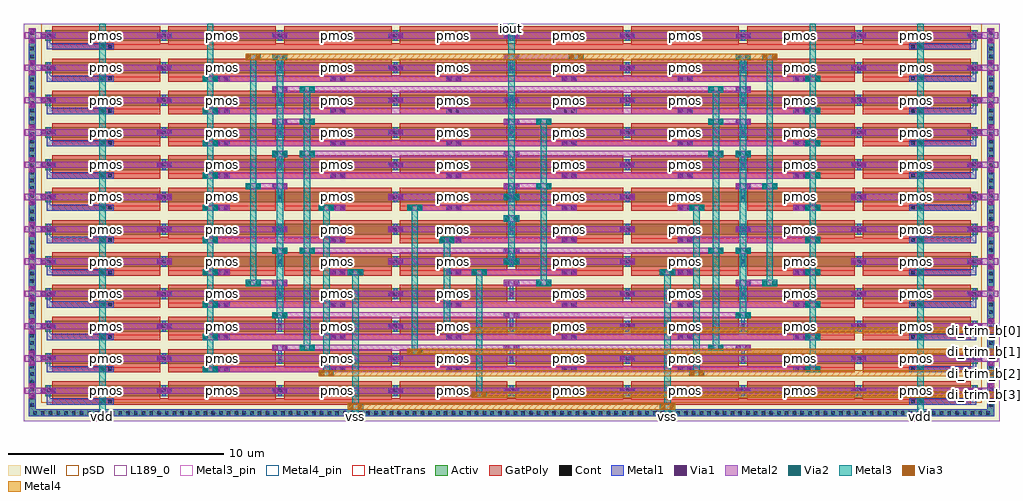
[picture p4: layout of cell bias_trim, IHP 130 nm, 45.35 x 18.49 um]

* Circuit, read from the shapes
.subckt bias_trim di_trim_b[0] di_trim_b[1] di_trim_b[2] di_trim_b[3] iout vdd vss vz
XM1 vdd vdd vdd vdd sg13_lv_pmos w=0.5u l=5u m=40
XM2 n1 vz vdd vdd sg13_lv_pmos w=0.5u l=5u m=16
XM3 n2 vz vdd vdd sg13_lv_pmos w=0.5u l=5u m=16
XM4 n3 vz vdd vdd sg13_lv_pmos w=0.5u l=5u m=8
XM5 iout vss n2 vdd sg13_lv_pmos w=0.5u l=5u m=2
XM6 n4 vz vdd vdd sg13_lv_pmos w=0.5u l=5u m=2
XM7 iout di_trim_b[2] n3 vdd sg13_lv_pmos w=0.5u l=5u m=2
XM8 n5 vz vdd vdd sg13_lv_pmos w=0.5u l=5u m=4
XM9 n1 di_trim_b[3] iout vdd sg13_lv_pmos w=0.5u l=5u m=2
XM10 iout di_trim_b[0] n4 vdd sg13_lv_pmos w=0.5u l=5u m=2
XM11 n5 di_trim_b[1] iout vdd sg13_lv_pmos w=0.5u l=5u m=2
.ends

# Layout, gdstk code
import gdstk
lib = gdstk.Library(unit=1e-6, precision=1e-09)
def R(c, l, rs):  # rectangles x0, y0, x1, y1
    for r in rs: c.add(gdstk.rectangle(r[:2], r[2:], *l))
def A(c, l, x, y, w, h, nx, ny, dx, dy):  # array of equal rectangles
    R(c, l, [(x+i*dx, y+j*dy, x+i*dx+w, y+j*dy+h) for i in range(nx) for j in range(ny)])
Activ = (1, 0)
GatPoly = (5, 0)
Cont = (6, 0)
Metal1 = (8, 0)
Metal2 = (10, 0)
pSD = (14, 0)
Via1 = (19, 0)
Via2 = (29, 0)
Metal3 = (30, 0)
Metal3_pin = (30, 2)
NWell = (31, 0)
Via3 = (49, 0)
Metal4 = (50, 0)
Metal4_pin = (50, 2)
HeatTrans = (51, 0)
L189_0 = (189, 0)

bias_trim = lib.new_cell('bias_trim')
A(bias_trim, Activ, 1.005, 1.18, 0.3, 0.3, 9, 12, 5.38, 1.5)
A(bias_trim, Activ, 1.005, 1.18, 43.34, 0.5, 1, 12, 0, 1.5)
R(bias_trim, Activ, [(0.24,0.24,45.11,0.56), (0.24,0.56,0.56,18.25), (44.79,0.56,45.11,18.25)])
A(bias_trim, GatPoly, 1.345, 1, 5, 0.86, 1, 12, 0, 1.5)
A(bias_trim, GatPoly, 1.345, 1, 5, 0.86, 8, 12, 5.38, 1.5)
A(bias_trim, GatPoly, 1.345, 2.28, 5, 0.3, 1, 3, 0, 1.5)
A(bias_trim, GatPoly, 6.725, 2.28, 31.9, 0.3, 1, 3, 0, 1.5)
A(bias_trim, GatPoly, 39.005, 2.28, 5, 0.3, 1, 3, 0, 1.5)
A(bias_trim, GatPoly, 1.345, 6.78, 5, 0.3, 3, 2, 5.38, 3)
A(bias_trim, GatPoly, 28.245, 6.78, 5, 0.3, 3, 2, 5.38, 3)
A(bias_trim, GatPoly, 1.345, 8.28, 10.38, 0.3, 3, 1, 16.14, 0)
A(bias_trim, GatPoly, 1.345, 11.28, 5, 0.3, 1, 4, 0, 1.5)
A(bias_trim, GatPoly, 39.005, 11.28, 5, 0.3, 1, 4, 0, 1.5)
A(bias_trim, GatPoly, 6.725, 14.28, 10.38, 0.3, 3, 1, 10.76, 0)
R(bias_trim, GatPoly, [(1.345,0.78,44.005,1.08), (17.485,6.78,27.865,7.08), (12.105,8.28,17.105,8.58), (28.245,8.28,33.245,8.58), (17.485,9.78,27.865,10.08), (6.725,11.28,38.625,11.58), (6.725,12.78,38.625,13.08), (6.725,15.78,38.625,16.08), (1.345,17.28,44.005,17.58)])
A(bias_trim, Cont, 0.455, 0.32, 0.16, 0.16, 124, 1, 0.36, 0)
A(bias_trim, Cont, 0.32, 0.68, 0.16, 0.16, 1, 49, 0, 0.36)
A(bias_trim, Cont, 44.87, 0.68, 0.16, 0.16, 1, 49, 0, 0.36)
A(bias_trim, Cont, 3.595, 0.85, 0.16, 0.16, 1, 12, 0, 1.5)
A(bias_trim, Cont, 3.935, 0.85, 0.16, 0.16, 1, 12, 0, 1.5)
A(bias_trim, Cont, 41.255, 0.85, 0.16, 0.16, 1, 12, 0, 1.5)
A(bias_trim, Cont, 41.595, 0.85, 0.16, 0.16, 1, 12, 0, 1.5)
A(bias_trim, Cont, 1.075, 1.35, 0.16, 0.16, 9, 12, 5.38, 1.5)
A(bias_trim, Cont, 8.975, 2.35, 0.16, 0.16, 1, 4, 0, 1.5)
A(bias_trim, Cont, 9.315, 2.35, 0.16, 0.16, 1, 4, 0, 1.5)
A(bias_trim, Cont, 14.355, 2.35, 0.16, 0.16, 1, 10, 0, 1.5)
A(bias_trim, Cont, 14.695, 2.35, 0.16, 0.16, 1, 10, 0, 1.5)
A(bias_trim, Cont, 19.735, 2.35, 0.16, 0.16, 1, 10, 0, 1.5)
A(bias_trim, Cont, 20.075, 2.35, 0.16, 0.16, 1, 10, 0, 1.5)
A(bias_trim, Cont, 25.115, 2.35, 0.16, 0.16, 1, 10, 0, 1.5)
A(bias_trim, Cont, 25.455, 2.35, 0.16, 0.16, 1, 10, 0, 1.5)
A(bias_trim, Cont, 30.495, 2.35, 0.16, 0.16, 1, 10, 0, 1.5)
A(bias_trim, Cont, 30.835, 2.35, 0.16, 0.16, 1, 10, 0, 1.5)
A(bias_trim, Cont, 35.875, 2.35, 0.16, 0.16, 1, 4, 0, 1.5)
A(bias_trim, Cont, 36.215, 2.35, 0.16, 0.16, 1, 4, 0, 1.5)
A(bias_trim, Cont, 8.975, 9.85, 0.16, 0.16, 1, 5, 0, 1.5)
A(bias_trim, Cont, 9.315, 9.85, 0.16, 0.16, 1, 5, 0, 1.5)
A(bias_trim, Cont, 35.875, 9.85, 0.16, 0.16, 1, 5, 0, 1.5)
A(bias_trim, Cont, 36.215, 9.85, 0.16, 0.16, 1, 5, 0, 1.5)
A(bias_trim, Metal1, 1.075, 0.785, 2.85, 0.29, 1, 12, 0, 1.5)
A(bias_trim, Metal1, 3.495, 0.785, 0.7, 0.29, 1, 12, 0, 1.5)
A(bias_trim, Metal1, 41.155, 0.785, 0.7, 0.29, 1, 12, 0, 1.5)
A(bias_trim, Metal1, 41.425, 0.785, 2.85, 0.29, 1, 12, 0, 1.5)
A(bias_trim, Metal1, 1.075, 0.93, 0.16, 0.25, 1, 9, 0, 1.5)
A(bias_trim, Metal1, 44.115, 0.93, 0.16, 0.25, 1, 9, 0, 1.5)
A(bias_trim, Metal1, 0.255, 1.08, 0.29, 0.7, 1, 12, 0, 1.5)
A(bias_trim, Metal1, 44.805, 1.08, 0.29, 0.7, 1, 12, 0, 1.5)
A(bias_trim, Metal1, 6.455, 1.18, 0.16, 0.5, 1, 12, 0, 1.5)
A(bias_trim, Metal1, 6.455, 1.18, 0.16, 0.5, 8, 12, 5.38, 1.5)
A(bias_trim, Metal1, 0.805, 1.285, 0.7, 0.29, 9, 2, 5.38, 16.5)
A(bias_trim, Metal1, 0.805, 2.785, 0.7, 0.29, 1, 4, 0, 1.5)
A(bias_trim, Metal1, 6.185, 2.785, 0.7, 0.29, 4, 4, 10.76, 1.5)
A(bias_trim, Metal1, 43.845, 2.785, 0.7, 0.29, 1, 4, 0, 1.5)
A(bias_trim, Metal1, 11.835, 3.18, 0.16, 0.395, 3, 4, 10.76, 1.5)
A(bias_trim, Metal1, 11.565, 3.285, 0.7, 0.29, 3, 4, 10.76, 1.5)
A(bias_trim, Metal1, 0.805, 8.785, 0.7, 0.29, 4, 1, 5.38, 0)
A(bias_trim, Metal1, 27.705, 8.785, 0.7, 0.29, 4, 1, 5.38, 0)
A(bias_trim, Metal1, 0.805, 10.285, 0.7, 0.29, 1, 5, 0, 1.5)
A(bias_trim, Metal1, 6.185, 10.285, 0.7, 0.29, 4, 3, 10.76, 1.5)
A(bias_trim, Metal1, 43.845, 10.285, 0.7, 0.29, 1, 5, 0, 1.5)
A(bias_trim, Metal1, 11.835, 10.68, 0.16, 0.395, 3, 3, 10.76, 1.5)
A(bias_trim, Metal1, 11.565, 10.785, 0.7, 0.29, 3, 3, 10.76, 1.5)
A(bias_trim, Metal1, 14.255, 12.785, 0.7, 0.29, 1, 3, 0, 1.5)
A(bias_trim, Metal1, 30.395, 12.785, 0.7, 0.29, 1, 3, 0, 1.5)
A(bias_trim, Metal1, 14.255, 14.285, 0.7, 0.29, 4, 1, 5.38, 0)
A(bias_trim, Metal1, 1.075, 14.43, 0.16, 0.25, 3, 1, 21.52, 0)
A(bias_trim, Metal1, 16.945, 14.785, 0.7, 0.29, 3, 1, 5.38, 0)
A(bias_trim, Metal1, 6.185, 16.285, 0.7, 0.29, 4, 1, 10.76, 0)
A(bias_trim, Metal1, 11.835, 16.68, 0.16, 0.395, 3, 1, 10.76, 0)
A(bias_trim, Metal1, 11.565, 16.785, 0.7, 0.29, 3, 1, 10.76, 0)
R(bias_trim, Metal1, [(0.24,0.24,45.11,0.56), (0.24,0.56,0.56,18.25), (44.79,0.56,45.11,18.25), (1.075,1.18,1.235,1.68), (1.075,1.18,1.235,1.68), (8.875,2.285,9.575,2.575), (8.875,2.285,9.575,2.575), (14.255,2.285,14.955,2.575), (14.255,2.285,14.955,2.575), (19.635,2.285,20.335,2.575), (19.635,2.285,20.335,2.575), (25.015,2.285,25.715,2.575), (25.015,2.285,25.715,2.575), (30.395,2.285,31.095,2.575), (30.395,2.285,31.095,2.575), (35.775,2.285,36.475,2.575), (35.775,2.285,36.475,2.575), (1.075,2.68,1.235,3.18), (1.075,2.68,1.235,3.18), (8.875,3.785,9.575,4.075), (8.875,3.785,9.575,4.075), (14.255,3.785,14.955,4.075), (14.255,3.785,14.955,4.075), (19.635,3.785,20.335,4.075), (19.635,3.785,20.335,4.075), (25.015,3.785,25.715,4.075), (25.015,3.785,25.715,4.075), (30.395,3.785,31.095,4.075), (30.395,3.785,31.095,4.075), (35.775,3.785,36.475,4.075), (35.775,3.785,36.475,4.075), (1.075,4.18,1.235,4.68), (1.075,4.18,1.235,4.68), (8.875,5.285,9.575,5.575), (8.875,5.285,9.575,5.575), (14.255,5.285,14.955,5.575), (14.255,5.285,14.955,5.575), (19.635,5.285,20.335,5.575), (19.635,5.285,20.335,5.575), (25.015,5.285,25.715,5.575), (25.015,5.285,25.715,5.575), (30.395,5.285,31.095,5.575), (30.395,5.285,31.095,5.575), (35.775,5.285,36.475,5.575), (35.775,5.285,36.475,5.575), (1.075,5.68,1.235,6.18), (1.075,5.68,1.235,6.18), (8.875,6.785,9.575,7.075), (8.875,6.785,9.575,7.075), (14.255,6.785,14.955,7.075), (14.255,6.785,14.955,7.075), (19.635,6.785,20.335,7.075), (19.635,6.785,20.335,7.075), (25.015,6.785,25.715,7.075), (25.015,6.785,25.715,7.075), (30.395,6.785,31.095,7.075), (30.395,6.785,31.095,7.075), (35.775,6.785,36.475,7.075), (35.775,6.785,36.475,7.075), (1.075,7.18,1.235,7.68), (1.075,7.18,1.235,7.68), (14.255,8.285,14.955,8.575), (14.255,8.285,14.955,8.575), (19.635,8.285,20.335,8.575), (19.635,8.285,20.335,8.575), (25.015,8.285,25.715,8.575), (25.015,8.285,25.715,8.575), (30.395,8.285,31.095,8.575), (30.395,8.285,31.095,8.575), (1.075,8.68,1.235,9.18), (1.075,8.68,1.235,9.18), (22.595,9.18,22.755,9.575), (22.325,9.285,23.025,9.575), (8.875,9.785,9.575,10.075), (8.875,9.785,9.575,10.075), (14.255,9.785,14.955,10.075), (14.255,9.785,14.955,10.075), (19.635,9.785,20.335,10.075), (19.635,9.785,20.335,10.075), (25.015,9.785,25.715,10.075), (25.015,9.785,25.715,10.075), (30.395,9.785,31.095,10.075), (30.395,9.785,31.095,10.075), (35.775,9.785,36.475,10.075), (35.775,9.785,36.475,10.075), (1.075,10.18,1.235,10.68), (1.075,10.18,1.235,10.68), (8.875,11.285,9.575,11.575), (8.875,11.285,9.575,11.575), (14.255,11.285,14.955,11.575), (14.255,11.285,14.955,11.575), (19.635,11.285,20.335,11.575), (19.635,11.285,20.335,11.575), (25.015,11.285,25.715,11.575), (25.015,11.285,25.715,11.575), (30.395,11.285,31.095,11.575), (30.395,11.285,31.095,11.575), (35.775,11.285,36.475,11.575), (35.775,11.285,36.475,11.575), (1.075,11.68,1.235,12.18), (1.075,11.68,1.235,12.18), (8.875,12.785,9.575,13.075), (8.875,12.785,9.575,13.075), (14.255,12.785,14.955,13.075), (19.635,12.785,20.335,13.075), (19.635,12.785,20.335,13.075), (25.015,12.785,25.715,13.075), (25.015,12.785,25.715,13.075), (30.395,12.785,31.095,13.075), (35.775,12.785,36.475,13.075), (35.775,12.785,36.475,13.075), (1.075,13.18,1.235,13.68), (1.075,13.18,1.235,13.68), (8.875,14.285,9.575,14.575), (8.875,14.285,9.575,14.575), (19.905,14.285,22.755,14.575), (22.595,14.285,25.445,14.575), (35.775,14.285,36.475,14.575), (35.775,14.285,36.475,14.575), (1.075,14.68,1.235,15.18), (1.075,14.68,1.235,15.18), (6.185,14.785,6.885,15.075), (38.465,14.785,39.165,15.075), (11.835,15.18,11.995,15.575), (33.355,15.18,33.515,15.575), (11.565,15.285,12.265,15.575), (33.085,15.285,33.785,15.575), (8.875,15.785,9.575,16.075), (8.875,15.785,9.575,16.075), (14.255,15.785,14.955,16.075), (19.635,15.785,20.335,16.075), (19.635,15.785,20.335,16.075), (25.015,15.785,25.715,16.075), (25.015,15.785,25.715,16.075), (30.395,15.785,31.095,16.075), (35.775,15.785,36.475,16.075), (35.775,15.785,36.475,16.075), (1.075,15.93,1.235,16.18), (44.115,15.93,44.275,16.18), (1.075,16.18,1.235,16.68), (1.075,16.18,1.235,16.68), (1.075,17.43,1.235,17.68), (44.115,17.43,44.275,17.68), (1.075,17.68,1.235,18.18), (1.075,17.68,1.235,18.18)])
A(bias_trim, Metal2, 0.255, 1.08, 0.29, 0.7, 1, 12, 0, 1.5)
A(bias_trim, Metal2, 44.805, 1.08, 0.29, 0.7, 1, 12, 0, 1.5)
A(bias_trim, Metal2, 0.05, 1.285, 45.25, 0.29, 1, 4, 0, 1.5)
A(bias_trim, Metal2, 0.805, 1.285, 0.7, 0.29, 1, 12, 0, 1.5)
A(bias_trim, Metal2, 3.325, 1.285, 0.7, 0.29, 1, 12, 0, 1.5)
A(bias_trim, Metal2, 6.185, 1.285, 0.7, 0.29, 7, 2, 5.38, 16.5)
A(bias_trim, Metal2, 41.325, 1.285, 0.7, 0.29, 1, 12, 0, 1.5)
A(bias_trim, Metal2, 43.845, 1.285, 0.7, 0.29, 1, 12, 0, 1.5)
A(bias_trim, Metal2, 8.325, 2.285, 0.7, 0.29, 1, 10, 0, 1.5)
A(bias_trim, Metal2, 8.325, 2.285, 28.7, 0.29, 1, 3, 0, 1.5)
A(bias_trim, Metal2, 8.875, 2.285, 0.7, 0.29, 6, 3, 5.38, 1.5)
A(bias_trim, Metal2, 36.325, 2.285, 0.7, 0.29, 1, 10, 0, 1.5)
A(bias_trim, Metal2, 6.185, 2.785, 0.7, 0.29, 4, 3, 10.76, 1.5)
A(bias_trim, Metal2, 11.565, 3.285, 0.7, 0.29, 1, 4, 0, 1.5)
A(bias_trim, Metal2, 12.825, 3.285, 0.7, 0.29, 3, 3, 9.5, 4.5)
A(bias_trim, Metal2, 33.085, 3.285, 0.7, 0.29, 1, 4, 0, 1.5)
A(bias_trim, Metal2, 11.565, 4.785, 0.7, 0.29, 3, 1, 10.76, 0)
A(bias_trim, Metal2, 14.255, 6.785, 0.7, 0.29, 1, 3, 0, 1.5)
A(bias_trim, Metal2, 16.945, 7.285, 0.7, 0.29, 3, 2, 5.38, 3)
A(bias_trim, Metal2, 16.945, 7.285, 11.46, 0.29, 1, 3, 0, 1.5)
A(bias_trim, Metal2, 19.635, 8.285, 0.7, 0.29, 3, 2, 5.38, 1.5)
A(bias_trim, Metal2, 6.185, 8.785, 0.7, 0.29, 3, 1, 5.38, 0)
A(bias_trim, Metal2, 27.705, 8.785, 0.7, 0.29, 3, 1, 5.38, 0)
A(bias_trim, Metal2, 22.325, 10.785, 0.7, 0.29, 1, 3, 0, 3)
A(bias_trim, Metal2, 8.325, 11.285, 28.7, 0.29, 1, 4, 0, 1.5)
A(bias_trim, Metal2, 8.875, 11.285, 0.7, 0.29, 6, 2, 5.38, 1.5)
A(bias_trim, Metal2, 0.05, 11.785, 45.25, 0.29, 1, 5, 0, 1.5)
A(bias_trim, Metal2, 6.185, 11.785, 0.7, 0.29, 4, 2, 10.76, 1.5)
A(bias_trim, Metal2, 11.565, 12.285, 0.7, 0.29, 1, 4, 0, 1.5)
A(bias_trim, Metal2, 33.085, 12.285, 0.7, 0.29, 1, 4, 0, 1.5)
A(bias_trim, Metal2, 16.945, 14.785, 0.7, 0.29, 3, 1, 5.38, 0)
A(bias_trim, Metal2, 8.875, 15.785, 0.7, 0.29, 6, 1, 5.38, 0)
A(bias_trim, Metal2, 6.185, 16.285, 0.7, 0.29, 4, 1, 10.76, 0)
R(bias_trim, Metal2, [(11.565,3.285,33.785,3.575), (11.565,4.785,33.785,5.075), (10.325,6.285,11.025,6.575), (10.325,6.285,12.265,6.575), (22.325,6.285,23.025,6.575), (22.325,6.285,24.525,6.575), (23.825,6.285,24.525,6.575), (33.085,6.285,35.025,6.575), (34.325,6.285,35.025,6.575), (8.325,6.785,9.575,7.075), (8.875,6.785,9.575,7.075), (14.255,6.785,15.775,7.075), (15.075,6.785,15.775,7.075), (19.635,6.785,20.335,7.075), (19.635,6.785,25.715,7.075), (20.825,6.785,21.525,7.075), (25.015,6.785,25.715,7.075), (29.575,6.785,30.275,7.075), (29.575,6.785,31.095,7.075), (30.395,6.785,31.095,7.075), (35.775,6.785,36.475,7.075), (35.775,6.785,37.025,7.075), (0.05,7.285,6.885,7.575), (6.185,7.285,6.885,7.575), (38.465,7.285,39.165,7.575), (38.465,7.285,45.3,7.575), (11.565,7.785,12.265,8.075), (12.825,7.785,32.525,8.075), (33.085,7.785,33.785,8.075), (8.325,8.285,14.955,8.575), (19.325,8.285,20.025,8.575), (19.325,8.285,25.715,8.575), (30.395,8.285,37.025,8.575), (0.05,8.785,12.265,9.075), (33.085,8.785,45.3,9.075), (22.325,9.285,23.025,9.575), (22.325,9.285,23.025,9.575), (8.325,9.785,9.575,10.075), (8.875,9.785,9.575,10.075), (13.725,9.785,14.425,10.075), (13.725,9.785,14.955,10.075), (17.825,9.785,18.525,10.075), (17.825,9.785,25.715,10.075), (30.395,9.785,31.625,10.075), (30.925,9.785,31.625,10.075), (35.775,9.785,36.475,10.075), (35.775,9.785,37.025,10.075), (0.05,10.285,6.885,10.575), (6.185,10.285,6.885,10.575), (38.465,10.285,39.165,10.575), (38.465,10.285,45.3,10.575), (10.325,10.785,11.025,11.075), (10.325,10.785,12.265,11.075), (11.565,10.785,12.265,11.075), (22.325,10.785,24.525,11.075), (23.825,10.785,24.525,11.075), (33.085,10.785,33.785,11.075), (33.085,10.785,35.025,11.075), (34.325,10.785,35.025,11.075), (11.565,12.285,12.265,12.575), (12.825,12.285,32.525,12.575), (33.085,12.285,33.785,12.575), (11.565,13.785,13.525,14.075), (12.825,13.785,13.525,14.075), (22.325,13.785,24.525,14.075), (23.825,13.785,24.525,14.075), (31.825,13.785,32.525,14.075), (31.825,13.785,33.785,14.075), (8.875,14.285,9.575,14.575), (14.255,14.285,14.955,14.575), (30.395,14.285,31.095,14.575), (35.775,14.285,36.475,14.575), (6.185,14.785,6.885,15.075), (38.465,14.785,39.165,15.075), (11.565,15.285,33.785,15.575), (12.825,15.285,13.525,15.575), (31.825,15.285,32.525,15.575), (10.325,16.785,11.025,17.075), (11.565,16.785,12.265,17.075), (22.325,16.785,26.025,17.075), (25.325,16.785,26.025,17.075), (33.085,16.785,33.785,17.075), (34.325,16.785,35.025,17.075)])
A(bias_trim, pSD, 0.825, 0.88, 43.7, 1.1, 1, 12, 0, 1.5)
R(bias_trim, pSD, [(0.825,0.88,44.525,18.48)])
A(bias_trim, Via1, 0.855, 1.335, 0.19, 0.19, 1, 12, 0, 1.5)
A(bias_trim, Via1, 1.265, 1.335, 0.19, 0.19, 1, 12, 0, 1.5)
A(bias_trim, Via1, 6.235, 1.335, 0.19, 0.19, 1, 12, 0, 1.5)
A(bias_trim, Via1, 6.645, 1.335, 0.19, 0.19, 1, 12, 0, 1.5)
A(bias_trim, Via1, 16.995, 1.335, 0.19, 0.19, 1, 12, 0, 1.5)
A(bias_trim, Via1, 17.405, 1.335, 0.19, 0.19, 1, 12, 0, 1.5)
A(bias_trim, Via1, 27.755, 1.335, 0.19, 0.19, 1, 12, 0, 1.5)
A(bias_trim, Via1, 28.165, 1.335, 0.19, 0.19, 1, 12, 0, 1.5)
A(bias_trim, Via1, 38.515, 1.335, 0.19, 0.19, 1, 12, 0, 1.5)
A(bias_trim, Via1, 38.925, 1.335, 0.19, 0.19, 1, 12, 0, 1.5)
A(bias_trim, Via1, 43.895, 1.335, 0.19, 0.19, 1, 12, 0, 1.5)
A(bias_trim, Via1, 44.305, 1.335, 0.19, 0.19, 1, 12, 0, 1.5)
A(bias_trim, Via1, 8.925, 2.335, 0.19, 0.19, 1, 4, 0, 1.5)
A(bias_trim, Via1, 9.335, 2.335, 0.19, 0.19, 1, 4, 0, 1.5)
A(bias_trim, Via1, 14.305, 2.335, 0.19, 0.19, 1, 10, 0, 1.5)
A(bias_trim, Via1, 14.715, 2.335, 0.19, 0.19, 1, 10, 0, 1.5)
A(bias_trim, Via1, 19.685, 2.335, 0.19, 0.19, 1, 8, 0, 1.5)
A(bias_trim, Via1, 20.095, 2.335, 0.19, 0.19, 1, 8, 0, 1.5)
A(bias_trim, Via1, 25.065, 2.335, 0.19, 0.19, 1, 8, 0, 1.5)
A(bias_trim, Via1, 25.475, 2.335, 0.19, 0.19, 1, 8, 0, 1.5)
A(bias_trim, Via1, 30.445, 2.335, 0.19, 0.19, 1, 10, 0, 1.5)
A(bias_trim, Via1, 30.855, 2.335, 0.19, 0.19, 1, 10, 0, 1.5)
A(bias_trim, Via1, 35.825, 2.335, 0.19, 0.19, 1, 4, 0, 1.5)
A(bias_trim, Via1, 36.235, 2.335, 0.19, 0.19, 1, 4, 0, 1.5)
A(bias_trim, Via1, 11.615, 3.335, 0.19, 0.19, 1, 4, 0, 1.5)
A(bias_trim, Via1, 12.025, 3.335, 0.19, 0.19, 1, 4, 0, 1.5)
A(bias_trim, Via1, 22.375, 3.335, 0.19, 0.19, 1, 8, 0, 1.5)
A(bias_trim, Via1, 22.785, 3.335, 0.19, 0.19, 1, 8, 0, 1.5)
A(bias_trim, Via1, 33.135, 3.335, 0.19, 0.19, 1, 4, 0, 1.5)
A(bias_trim, Via1, 33.545, 3.335, 0.19, 0.19, 1, 4, 0, 1.5)
A(bias_trim, Via1, 8.925, 9.835, 0.19, 0.19, 1, 5, 0, 1.5)
A(bias_trim, Via1, 9.335, 9.835, 0.19, 0.19, 1, 5, 0, 1.5)
A(bias_trim, Via1, 35.825, 9.835, 0.19, 0.19, 1, 5, 0, 1.5)
A(bias_trim, Via1, 36.235, 9.835, 0.19, 0.19, 1, 5, 0, 1.5)
A(bias_trim, Via1, 11.615, 10.835, 0.19, 0.19, 1, 5, 0, 1.5)
A(bias_trim, Via1, 12.025, 10.835, 0.19, 0.19, 1, 5, 0, 1.5)
A(bias_trim, Via1, 33.135, 10.835, 0.19, 0.19, 1, 5, 0, 1.5)
A(bias_trim, Via1, 33.545, 10.835, 0.19, 0.19, 1, 5, 0, 1.5)
R(bias_trim, Via1, [(0.305,1.13,0.495,1.32), (44.855,1.13,45.045,1.32), (11.615,1.335,11.805,1.525), (12.025,1.335,12.215,1.525), (22.375,1.335,22.565,1.525), (22.785,1.335,22.975,1.525), (33.135,1.335,33.325,1.525), (33.545,1.335,33.735,1.525), (0.305,1.54,0.495,1.73), (44.855,1.54,45.045,1.73), (0.305,2.63,0.495,2.82), (44.855,2.63,45.045,2.82), (0.305,3.04,0.495,3.23), (44.855,3.04,45.045,3.23), (0.305,4.13,0.495,4.32), (44.855,4.13,45.045,4.32), (0.305,4.54,0.495,4.73), (44.855,4.54,45.045,4.73), (0.305,5.63,0.495,5.82), (44.855,5.63,45.045,5.82), (0.305,6.04,0.495,6.23), (44.855,6.04,45.045,6.23), (0.305,7.13,0.495,7.32), (44.855,7.13,45.045,7.32), (0.305,7.54,0.495,7.73), (44.855,7.54,45.045,7.73), (0.305,8.63,0.495,8.82), (44.855,8.63,45.045,8.82), (11.615,8.835,11.805,9.025), (12.025,8.835,12.215,9.025), (33.135,8.835,33.325,9.025), (33.545,8.835,33.735,9.025), (0.305,9.04,0.495,9.23), (44.855,9.04,45.045,9.23), (0.305,10.13,0.495,10.32), (44.855,10.13,45.045,10.32), (0.305,10.54,0.495,10.73), (44.855,10.54,45.045,10.73), (0.305,11.63,0.495,11.82), (44.855,11.63,45.045,11.82), (0.305,12.04,0.495,12.23), (44.855,12.04,45.045,12.23), (0.305,13.13,0.495,13.32), (44.855,13.13,45.045,13.32), (0.305,13.54,0.495,13.73), (44.855,13.54,45.045,13.73), (0.305,14.63,0.495,14.82), (44.855,14.63,45.045,14.82), (22.375,14.835,22.565,15.025), (22.785,14.835,22.975,15.025), (0.305,15.04,0.495,15.23), (44.855,15.04,45.045,15.23), (19.685,15.835,19.875,16.025), (20.095,15.835,20.285,16.025), (25.065,15.835,25.255,16.025), (25.475,15.835,25.665,16.025), (0.305,16.13,0.495,16.32), (44.855,16.13,45.045,16.32), (0.305,16.54,0.495,16.73), (44.855,16.54,45.045,16.73), (22.375,16.835,22.565,17.025), (22.785,16.835,22.975,17.025), (0.305,17.63,0.495,17.82), (44.855,17.63,45.045,17.82), (11.615,17.835,11.805,18.025), (12.025,17.835,12.215,18.025), (22.375,17.835,22.565,18.025), (22.785,17.835,22.975,18.025), (33.135,17.835,33.325,18.025), (33.545,17.835,33.735,18.025), (0.305,18.04,0.495,18.23), (44.855,18.04,45.045,18.23)])
A(bias_trim, Via2, 3.375, 1.335, 0.19, 0.19, 1, 12, 0, 1.5)
A(bias_trim, Via2, 3.785, 1.335, 0.19, 0.19, 1, 12, 0, 1.5)
A(bias_trim, Via2, 41.375, 1.335, 0.19, 0.19, 1, 12, 0, 1.5)
A(bias_trim, Via2, 41.785, 1.335, 0.19, 0.19, 1, 12, 0, 1.5)
A(bias_trim, Via2, 8.375, 2.335, 0.19, 0.19, 1, 10, 0, 1.5)
A(bias_trim, Via2, 8.785, 2.335, 0.19, 0.19, 1, 10, 0, 1.5)
A(bias_trim, Via2, 36.375, 2.335, 0.19, 0.19, 1, 10, 0, 1.5)
A(bias_trim, Via2, 36.785, 2.335, 0.19, 0.19, 1, 10, 0, 1.5)
A(bias_trim, Via2, 12.875, 3.335, 0.19, 0.19, 1, 3, 0, 4.5)
A(bias_trim, Via2, 13.285, 3.335, 0.19, 0.19, 1, 3, 0, 4.5)
A(bias_trim, Via2, 31.875, 3.335, 0.19, 0.19, 1, 3, 0, 4.5)
A(bias_trim, Via2, 32.285, 3.335, 0.19, 0.19, 1, 3, 0, 4.5)
A(bias_trim, Via2, 11.615, 7.835, 0.19, 0.19, 1, 3, 0, 4.5)
A(bias_trim, Via2, 12.025, 7.835, 0.19, 0.19, 1, 3, 0, 4.5)
A(bias_trim, Via2, 33.135, 7.835, 0.19, 0.19, 1, 3, 0, 4.5)
A(bias_trim, Via2, 33.545, 7.835, 0.19, 0.19, 1, 3, 0, 4.5)
R(bias_trim, Via2, [(11.615,4.835,11.805,5.025), (12.025,4.835,12.215,5.025), (33.135,4.835,33.325,5.025), (33.545,4.835,33.735,5.025), (10.375,6.335,10.565,6.525), (10.785,6.335,10.975,6.525), (23.875,6.335,24.065,6.525), (24.285,6.335,24.475,6.525), (34.375,6.335,34.565,6.525), (34.785,6.335,34.975,6.525), (15.125,6.835,15.315,7.025), (15.535,6.835,15.725,7.025), (20.875,6.835,21.065,7.025), (21.285,6.835,21.475,7.025), (29.625,6.835,29.815,7.025), (30.035,6.835,30.225,7.025), (22.375,7.335,22.565,7.525), (22.785,7.335,22.975,7.525), (19.375,8.335,19.565,8.525), (19.785,8.335,19.975,8.525), (22.375,9.335,22.565,9.525), (22.785,9.335,22.975,9.525), (13.775,9.835,13.965,10.025), (14.185,9.835,14.375,10.025), (17.875,9.835,18.065,10.025), (18.285,9.835,18.475,10.025), (30.975,9.835,31.165,10.025), (31.385,9.835,31.575,10.025), (22.375,10.335,22.565,10.525), (22.785,10.335,22.975,10.525), (10.375,10.835,10.565,11.025), (10.785,10.835,10.975,11.025), (23.875,10.835,24.065,11.025), (24.285,10.835,24.475,11.025), (34.375,10.835,34.565,11.025), (34.785,10.835,34.975,11.025), (12.875,13.835,13.065,14.025), (13.285,13.835,13.475,14.025), (23.875,13.835,24.065,14.025), (24.285,13.835,24.475,14.025), (31.875,13.835,32.065,14.025), (32.285,13.835,32.475,14.025), (12.875,15.335,13.065,15.525), (13.285,15.335,13.475,15.525), (31.875,15.335,32.065,15.525), (32.285,15.335,32.475,15.525), (10.375,16.835,10.565,17.025), (10.785,16.835,10.975,17.025), (25.375,16.835,25.565,17.025), (25.785,16.835,25.975,17.025), (34.375,16.835,34.565,17.025), (34.785,16.835,34.975,17.025)])
A(bias_trim, Metal3, 3.325, 1.285, 0.7, 0.29, 1, 4, 0, 1.5)
A(bias_trim, Metal3, 41.325, 1.285, 0.7, 0.29, 1, 4, 0, 1.5)
A(bias_trim, Metal3, 8.325, 2.285, 0.7, 0.29, 1, 10, 0, 1.5)
A(bias_trim, Metal3, 36.325, 2.285, 0.7, 0.29, 1, 10, 0, 1.5)
A(bias_trim, Metal3, 12.825, 3.285, 0.7, 0.29, 1, 3, 0, 4.5)
A(bias_trim, Metal3, 31.825, 3.285, 0.7, 0.29, 1, 3, 0, 4.5)
A(bias_trim, Metal3, 3.325, 7.285, 0.7, 0.29, 3, 2, 19, 3)
A(bias_trim, Metal3, 11.565, 7.785, 0.7, 0.29, 1, 3, 0, 4.5)
A(bias_trim, Metal3, 33.085, 7.785, 0.7, 0.29, 1, 3, 0, 4.5)
A(bias_trim, Metal3, 3.325, 11.785, 0.7, 0.29, 1, 5, 0, 1.5)
A(bias_trim, Metal3, 41.325, 11.785, 0.7, 0.29, 1, 5, 0, 1.5)
A(bias_trim, Metal3, 8.53, 17.99, 0.29, 0.5, 3, 1, 14, 0)
R(bias_trim, Metal3, [(3.53,0,3.82,18.49), (3.53,0,3.82,0.5), (15.28,0,15.57,0.5), (15.28,0,15.57,7.075), (29.78,0,30.07,0.5), (29.78,0,30.07,7.075), (41.53,0,41.82,18.49), (41.53,0,41.82,0.5), (15.075,0.545,15.775,0.835), (29.575,0.545,30.275,0.835), (20.825,1.095,21.525,1.385), (21.03,1.095,21.32,7.075), (13.725,2.095,14.425,2.385), (13.93,2.095,14.22,10.075), (30.925,2.095,31.625,2.385), (31.13,2.095,31.42,10.075), (8.53,2.285,8.82,18.49), (36.53,2.285,36.82,18.49), (17.825,3.095,18.525,3.385), (18.03,3.095,18.32,10.075), (13.03,3.285,13.32,15.575), (32.03,3.285,32.32,15.575), (19.325,4.095,20.025,4.385), (19.53,4.095,19.82,8.575), (11.565,4.785,12.265,5.075), (11.77,4.785,12.06,17.075), (33.085,4.785,33.785,5.075), (33.29,4.785,33.58,17.075), (10.325,6.285,11.025,6.575), (10.53,6.285,10.82,17.075), (23.825,6.285,24.525,6.575), (24.03,6.285,24.32,14.075), (34.325,6.285,35.025,6.575), (34.53,6.285,34.82,17.075), (15.075,6.785,15.775,7.075), (20.825,6.785,21.525,7.075), (29.575,6.785,30.275,7.075), (22.53,7.285,22.82,18.49), (19.325,8.285,20.025,8.575), (3.325,8.785,4.025,9.075), (41.325,8.785,42.025,9.075), (22.325,9.285,23.025,9.575), (13.725,9.785,14.425,10.075), (17.825,9.785,18.525,10.075), (30.925,9.785,31.625,10.075), (10.325,10.785,11.025,11.075), (23.825,10.785,24.525,11.075), (34.325,10.785,35.025,11.075), (12.825,13.785,13.525,14.075), (23.825,13.785,24.525,14.075), (31.825,13.785,32.525,14.075), (12.825,15.285,13.525,15.575), (31.825,15.285,32.525,15.575), (10.325,16.785,11.025,17.075), (10.325,16.785,11.025,17.075), (25.325,16.785,26.025,17.075), (34.325,16.785,35.025,17.075), (34.325,16.785,35.025,17.075), (3.53,17.99,3.82,18.49), (41.53,17.99,41.82,18.49)])
A(bias_trim, Metal3_pin, 8.53, 17.99, 0.29, 0.5, 3, 1, 14, 0)
R(bias_trim, Metal3_pin, [(3.53,0,3.82,0.5), (15.28,0,15.57,0.5), (29.78,0,30.07,0.5), (41.53,0,41.82,0.5), (3.53,17.99,3.82,18.49), (41.53,17.99,41.82,18.49)])
A(bias_trim, NWell, 0.695, 0.87, 43.96, 1.12, 1, 12, 0, 1.5)
R(bias_trim, NWell, [(0,0,45.35,18.49)])
R(bias_trim, Via3, [(15.125,0.595,15.315,0.785), (15.535,0.595,15.725,0.785), (29.625,0.595,29.815,0.785), (30.035,0.595,30.225,0.785), (20.875,1.145,21.065,1.335), (21.285,1.145,21.475,1.335), (13.775,2.145,13.965,2.335), (14.185,2.145,14.375,2.335), (30.975,2.145,31.165,2.335), (31.385,2.145,31.575,2.335), (17.875,3.145,18.065,3.335), (18.285,3.145,18.475,3.335), (19.375,4.145,19.565,4.335), (19.785,4.145,19.975,4.335), (10.375,16.835,10.565,17.025), (10.785,16.835,10.975,17.025), (25.375,16.835,25.565,17.025), (25.785,16.835,25.975,17.025), (34.375,16.835,34.565,17.025), (34.785,16.835,34.975,17.025)])
A(bias_trim, Metal4, 44.85, 1.095, 0.5, 0.29, 1, 4, 0, 1)
R(bias_trim, Metal4, [(15.075,0.545,15.775,0.835), (15.28,0.545,30.07,0.835), (29.575,0.545,30.275,0.835), (20.825,1.095,21.525,1.385), (20.825,1.095,45.35,1.385), (13.725,2.095,14.425,2.385), (13.725,2.095,45.35,2.385), (30.925,2.095,31.625,2.385), (17.825,3.095,18.525,3.385), (17.825,3.095,45.35,3.385), (19.325,4.095,20.025,4.385), (19.325,4.095,45.35,4.385), (10.325,16.785,11.025,17.075), (10.53,16.785,34.82,17.075), (25.325,16.785,26.025,17.075), (34.325,16.785,35.025,17.075)])
A(bias_trim, Metal4_pin, 44.85, 1.095, 0.5, 0.29, 1, 4, 0, 1)
A(bias_trim, HeatTrans, 1.345, 1, 5, 0.86, 8, 12, 5.38, 1.5)
R(bias_trim, L189_0, [(0,0,45.35,18.49)])
bias_trim.add(gdstk.Label('pmos', (3.845,1.43), layer=63, texttype=0))
bias_trim.add(gdstk.Label('pmos', (3.845,2.93), layer=63, texttype=0))
bias_trim.add(gdstk.Label('pmos', (3.845,4.43), layer=63, texttype=0))
bias_trim.add(gdstk.Label('pmos', (3.845,5.93), layer=63, texttype=0))
bias_trim.add(gdstk.Label('pmos', (3.845,7.43), layer=63, texttype=0))
bias_trim.add(gdstk.Label('pmos', (3.845,8.93), layer=63, texttype=0))
bias_trim.add(gdstk.Label('pmos', (3.845,10.43), layer=63, texttype=0))
bias_trim.add(gdstk.Label('pmos', (3.845,11.93), layer=63, texttype=0))
bias_trim.add(gdstk.Label('pmos', (3.845,13.43), layer=63, texttype=0))
bias_trim.add(gdstk.Label('pmos', (3.845,14.93), layer=63, texttype=0))
bias_trim.add(gdstk.Label('pmos', (3.845,16.43), layer=63, texttype=0))
bias_trim.add(gdstk.Label('pmos', (3.845,17.93), layer=63, texttype=0))
bias_trim.add(gdstk.Label('pmos', (3.845,1.43), layer=51, texttype=0))
bias_trim.add(gdstk.Label('pmos', (9.225,1.43), layer=51, texttype=0))
bias_trim.add(gdstk.Label('pmos', (14.605,1.43), layer=51, texttype=0))
bias_trim.add(gdstk.Label('pmos', (19.985,1.43), layer=51, texttype=0))
bias_trim.add(gdstk.Label('pmos', (25.365,1.43), layer=51, texttype=0))
bias_trim.add(gdstk.Label('pmos', (30.745,1.43), layer=51, texttype=0))
bias_trim.add(gdstk.Label('pmos', (36.125,1.43), layer=51, texttype=0))
bias_trim.add(gdstk.Label('pmos', (41.505,1.43), layer=51, texttype=0))
bias_trim.add(gdstk.Label('pmos', (3.845,2.93), layer=51, texttype=0))
bias_trim.add(gdstk.Label('pmos', (9.225,2.93), layer=51, texttype=0))
bias_trim.add(gdstk.Label('pmos', (14.605,2.93), layer=51, texttype=0))
bias_trim.add(gdstk.Label('pmos', (19.985,2.93), layer=51, texttype=0))
bias_trim.add(gdstk.Label('pmos', (25.365,2.93), layer=51, texttype=0))
bias_trim.add(gdstk.Label('pmos', (30.745,2.93), layer=51, texttype=0))
bias_trim.add(gdstk.Label('pmos', (36.125,2.93), layer=51, texttype=0))
bias_trim.add(gdstk.Label('pmos', (41.505,2.93), layer=51, texttype=0))
bias_trim.add(gdstk.Label('pmos', (3.845,4.43), layer=51, texttype=0))
bias_trim.add(gdstk.Label('pmos', (9.225,4.43), layer=51, texttype=0))
bias_trim.add(gdstk.Label('pmos', (14.605,4.43), layer=51, texttype=0))
bias_trim.add(gdstk.Label('pmos', (19.985,4.43), layer=51, texttype=0))
bias_trim.add(gdstk.Label('pmos', (25.365,4.43), layer=51, texttype=0))
bias_trim.add(gdstk.Label('pmos', (30.745,4.43), layer=51, texttype=0))
bias_trim.add(gdstk.Label('pmos', (36.125,4.43), layer=51, texttype=0))
bias_trim.add(gdstk.Label('pmos', (41.505,4.43), layer=51, texttype=0))
bias_trim.add(gdstk.Label('pmos', (3.845,5.93), layer=51, texttype=0))
bias_trim.add(gdstk.Label('pmos', (9.225,5.93), layer=51, texttype=0))
bias_trim.add(gdstk.Label('pmos', (14.605,5.93), layer=51, texttype=0))
bias_trim.add(gdstk.Label('pmos', (19.985,5.93), layer=51, texttype=0))
bias_trim.add(gdstk.Label('pmos', (25.365,5.93), layer=51, texttype=0))
bias_trim.add(gdstk.Label('pmos', (30.745,5.93), layer=51, texttype=0))
bias_trim.add(gdstk.Label('pmos', (36.125,5.93), layer=51, texttype=0))
bias_trim.add(gdstk.Label('pmos', (41.505,5.93), layer=51, texttype=0))
bias_trim.add(gdstk.Label('pmos', (3.845,7.43), layer=51, texttype=0))
bias_trim.add(gdstk.Label('pmos', (9.225,7.43), layer=51, texttype=0))
bias_trim.add(gdstk.Label('pmos', (14.605,7.43), layer=51, texttype=0))
bias_trim.add(gdstk.Label('pmos', (19.985,7.43), layer=51, texttype=0))
bias_trim.add(gdstk.Label('pmos', (25.365,7.43), layer=51, texttype=0))
bias_trim.add(gdstk.Label('pmos', (30.745,7.43), layer=51, texttype=0))
bias_trim.add(gdstk.Label('pmos', (36.125,7.43), layer=51, texttype=0))
bias_trim.add(gdstk.Label('pmos', (41.505,7.43), layer=51, texttype=0))
bias_trim.add(gdstk.Label('pmos', (3.845,8.93), layer=51, texttype=0))
bias_trim.add(gdstk.Label('pmos', (9.225,8.93), layer=51, texttype=0))
bias_trim.add(gdstk.Label('pmos', (14.605,8.93), layer=51, texttype=0))
bias_trim.add(gdstk.Label('pmos', (19.985,8.93), layer=51, texttype=0))
bias_trim.add(gdstk.Label('pmos', (25.365,8.93), layer=51, texttype=0))
bias_trim.add(gdstk.Label('pmos', (30.745,8.93), layer=51, texttype=0))
bias_trim.add(gdstk.Label('pmos', (36.125,8.93), layer=51, texttype=0))
bias_trim.add(gdstk.Label('pmos', (41.505,8.93), layer=51, texttype=0))
bias_trim.add(gdstk.Label('pmos', (3.845,10.43), layer=51, texttype=0))
bias_trim.add(gdstk.Label('pmos', (9.225,10.43), layer=51, texttype=0))
bias_trim.add(gdstk.Label('pmos', (14.605,10.43), layer=51, texttype=0))
bias_trim.add(gdstk.Label('pmos', (19.985,10.43), layer=51, texttype=0))
bias_trim.add(gdstk.Label('pmos', (25.365,10.43), layer=51, texttype=0))
bias_trim.add(gdstk.Label('pmos', (30.745,10.43), layer=51, texttype=0))
bias_trim.add(gdstk.Label('pmos', (36.125,10.43), layer=51, texttype=0))
bias_trim.add(gdstk.Label('pmos', (41.505,10.43), layer=51, texttype=0))
bias_trim.add(gdstk.Label('pmos', (3.845,11.93), layer=51, texttype=0))
bias_trim.add(gdstk.Label('pmos', (9.225,11.93), layer=51, texttype=0))
bias_trim.add(gdstk.Label('pmos', (14.605,11.93), layer=51, texttype=0))
bias_trim.add(gdstk.Label('pmos', (19.985,11.93), layer=51, texttype=0))
bias_trim.add(gdstk.Label('pmos', (25.365,11.93), layer=51, texttype=0))
bias_trim.add(gdstk.Label('pmos', (30.745,11.93), layer=51, texttype=0))
bias_trim.add(gdstk.Label('pmos', (36.125,11.93), layer=51, texttype=0))
bias_trim.add(gdstk.Label('pmos', (41.505,11.93), layer=51, texttype=0))
bias_trim.add(gdstk.Label('pmos', (3.845,13.43), layer=51, texttype=0))
bias_trim.add(gdstk.Label('pmos', (9.225,13.43), layer=51, texttype=0))
bias_trim.add(gdstk.Label('pmos', (14.605,13.43), layer=51, texttype=0))
bias_trim.add(gdstk.Label('pmos', (19.985,13.43), layer=51, texttype=0))
bias_trim.add(gdstk.Label('pmos', (25.365,13.43), layer=51, texttype=0))
bias_trim.add(gdstk.Label('pmos', (30.745,13.43), layer=51, texttype=0))
bias_trim.add(gdstk.Label('pmos', (36.125,13.43), layer=51, texttype=0))
bias_trim.add(gdstk.Label('pmos', (41.505,13.43), layer=51, texttype=0))
bias_trim.add(gdstk.Label('pmos', (3.845,14.93), layer=51, texttype=0))
bias_trim.add(gdstk.Label('pmos', (9.225,14.93), layer=51, texttype=0))
bias_trim.add(gdstk.Label('pmos', (14.605,14.93), layer=51, texttype=0))
bias_trim.add(gdstk.Label('pmos', (19.985,14.93), layer=51, texttype=0))
bias_trim.add(gdstk.Label('pmos', (25.365,14.93), layer=51, texttype=0))
bias_trim.add(gdstk.Label('pmos', (30.745,14.93), layer=51, texttype=0))
bias_trim.add(gdstk.Label('pmos', (36.125,14.93), layer=51, texttype=0))
bias_trim.add(gdstk.Label('pmos', (41.505,14.93), layer=51, texttype=0))
bias_trim.add(gdstk.Label('pmos', (3.845,16.43), layer=51, texttype=0))
bias_trim.add(gdstk.Label('pmos', (9.225,16.43), layer=51, texttype=0))
bias_trim.add(gdstk.Label('pmos', (14.605,16.43), layer=51, texttype=0))
bias_trim.add(gdstk.Label('pmos', (19.985,16.43), layer=51, texttype=0))
bias_trim.add(gdstk.Label('pmos', (25.365,16.43), layer=51, texttype=0))
bias_trim.add(gdstk.Label('pmos', (30.745,16.43), layer=51, texttype=0))
bias_trim.add(gdstk.Label('pmos', (36.125,16.43), layer=51, texttype=0))
bias_trim.add(gdstk.Label('pmos', (41.505,16.43), layer=51, texttype=0))
bias_trim.add(gdstk.Label('pmos', (3.845,17.93), layer=51, texttype=0))
bias_trim.add(gdstk.Label('pmos', (9.225,17.93), layer=51, texttype=0))
bias_trim.add(gdstk.Label('pmos', (14.605,17.93), layer=51, texttype=0))
bias_trim.add(gdstk.Label('pmos', (19.985,17.93), layer=51, texttype=0))
bias_trim.add(gdstk.Label('pmos', (25.365,17.93), layer=51, texttype=0))
bias_trim.add(gdstk.Label('pmos', (30.745,17.93), layer=51, texttype=0))
bias_trim.add(gdstk.Label('pmos', (36.125,17.93), layer=51, texttype=0))
bias_trim.add(gdstk.Label('pmos', (41.505,17.93), layer=51, texttype=0))
bias_trim.add(gdstk.Label('iout', (22.675,18.24), layer=30, texttype=25))
bias_trim.add(gdstk.Label('vdd', (3.675,18.24), layer=30, texttype=25))
bias_trim.add(gdstk.Label('vz', (8.675,18.24), layer=30, texttype=25))
bias_trim.add(gdstk.Label('vdd', (3.675,0.25), layer=30, texttype=25))
bias_trim.add(gdstk.Label('vss', (15.425,0.25), layer=30, texttype=25))
bias_trim.add(gdstk.Label('vdd', (41.675,18.24), layer=30, texttype=25))
bias_trim.add(gdstk.Label('vz', (36.675,18.24), layer=30, texttype=25))
bias_trim.add(gdstk.Label('vdd', (41.675,0.25), layer=30, texttype=25))
bias_trim.add(gdstk.Label('vss', (29.925,0.25), layer=30, texttype=25))
bias_trim.add(gdstk.Label('di_trim_b[3]', (45.1,1.24), layer=50, texttype=25))
bias_trim.add(gdstk.Label('di_trim_b[2]', (45.1,2.24), layer=50, texttype=25))
bias_trim.add(gdstk.Label('di_trim_b[1]', (45.1,3.24), layer=50, texttype=25))
bias_trim.add(gdstk.Label('di_trim_b[0]', (45.1,4.24), layer=50, texttype=25))

lib.write_gds('bias_trim.gds')
